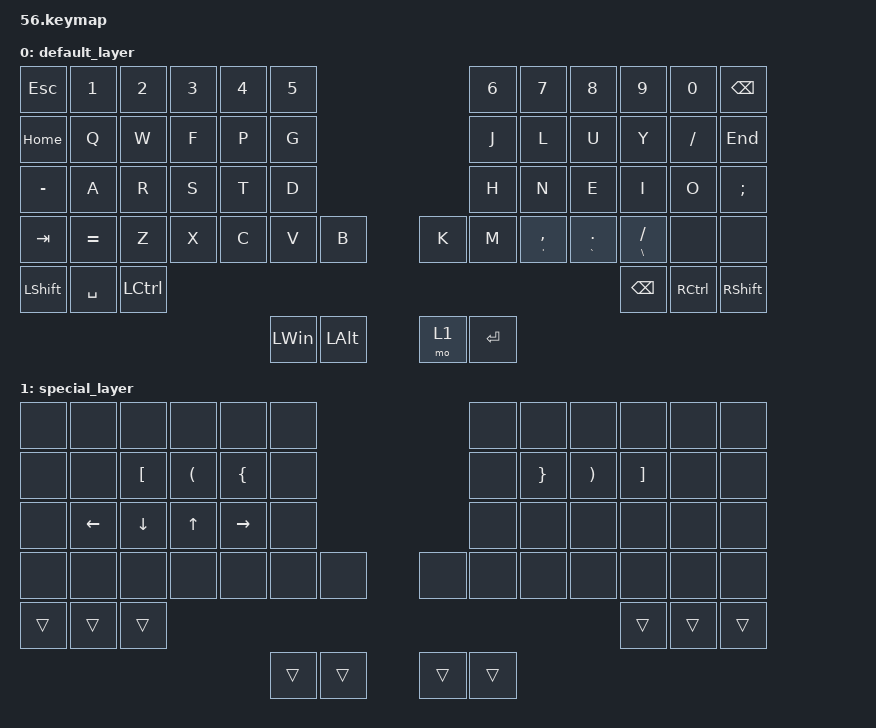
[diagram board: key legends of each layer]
#include <behaviors.dtsi>
#include <dt-bindings/zmk/keys.h>
#include <dt-bindings/zmk/bt.h>

&mt {
      flavor = "tap-preferred";
   // tapping_term_ms = <200>;
};

/ {

    keymap {
        compatible = "zmk,keymap";
        default_layer {
// |      | SW1  | SW2  | SW3  | SW4  | SW23 | SW6  |  | SW6  | SW5  | SW4  | SW3  | SW2  | SW1  |      |
// |      | SW7  | SW8  | SW9  | SW10 | SW11 | SW12 |  | SW12 | SW11 | SW10 | SW9  | SW8  | SW7  |      |
// |      | SW13 | SW14 | SW15 | SW12 | SW17 | SW18 |  | SW18 | SW17 | SW16 | SW15 | SW14 | SW13 |      |
// | SW25 | SW19 | SW20 | SW21 | SW22 | SW23 | SW24 |  | SW24 | SW23 | SW22 | SW21 | SW20 | SW19 | SW25 |
// |      |      |      |      | SW28 | SW27 | SW#@ |  | SW26 | SW26 | SW26 |      |      |
// |      |      |      |      |      | SW29 | SW30 |  | SW30 | SW29 |      |      |      |      |      |
           bindings = <
//        |      |      |      |      |      |      |           |      |      |      |      |      |      |      |
          &kp ESC  &kp N1 &kp N2 &kp N3 &kp N4 &kp N5           &kp N6 &kp N7 &kp N8 &kp N9 &kp N0 &kp BACKSPACE
//        |      |      |      |      |      |      |           |      |      |      |      |      |      |      |
          &kp HOME  &kp Q  &kp W &kp F &kp P &kp G              &kp J  &kp L &kp U &kp Y &kp SLASH &kp END
//        |      |      |      |      |      |      |           |      |      |      |      |      |      |      |
          &kp MINUS &kp A &kp R &kp S &kp T &kp D               &kp H &kp N &kp E &kp I &kp O  &kp SEMICOLON
// |      |      |      |      |      |      |      |           |      |      |      |      |      |      |      |     |
    &kp TAB &kp EQUAL &kp Z &kp X &kp C &kp V &kp B             &kp K &kp M  &mt SINGLE_QUOTE COMMA  &mt GRAVE DOT &mt BACKSLASH SLASH &none &none  
//                             |      |      |      |           |      |      |      |
            &kp LEFT_SHIFT &kp SPACE &kp LEFT_CONTROL           &kp BACKSPACE &kp RIGHT_CONTROL &kp RIGHT_SHIFT
//                                    |      |      |           |      |      |
                            &kp LEFT_WIN &kp LEFT_ALT           &mo 1  &kp ENTER 
            >;
        };


        special_layer {
            bindings = <
//        |      |      |      |      |      |      |           |      |      |      |      |      |      |      
          &none  &none  &none  &none  &none  &none              &none  &none  &none  &none  &none  &none
//        |      |      |      |      |      |      |           |      |      |      |      |      |      |      
          &none  &none  &kp LEFT_BRACKET  &kp LEFT_PARENTHESIS  &kp LEFT_BRACE  &none    &none   &kp RIGHT_BRACE &kp RIGHT_PARENTHESIS  &kp RIGHT_BRACKET  &none  &none  
//        |      |      |      |      |      |      |           |      |      |      |      |      |      |      
           &none  &kp LEFT  &kp DOWN  &kp UP  &kp RIGHT  &none      &none  &none  &none  &none  &none  &none    
// |      |      |      |      |      |      |      |           |      |      |      |      |      |      |      |
    &none  &none  &none  &none  &none  &none  &none             &none  &none  &none  &none  &none  &none  &none  
//                             |      |      |      |           |      |      |      |
                               &trans  &trans  &trans             &trans  &trans  &trans  
//                                    |      |      |           |      |      |
                                      &trans  &trans              &trans  &trans         
        >;
        };
    };
};
